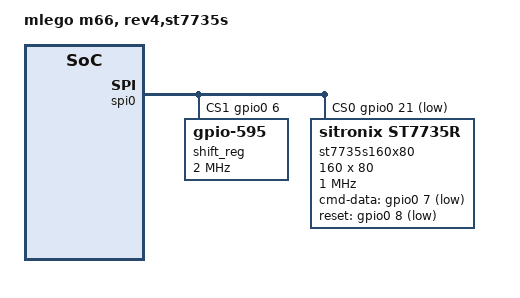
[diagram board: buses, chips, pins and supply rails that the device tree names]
/*
 * Copyright (c) 2022-2024 alin m elena
 * SPDX-License-Identifier: MIT
 */
 / {
  model = "mlego m66, rev4,st7735s";
	chosen {
		zephyr,display = &st7735s160x80;
	};

};

board_spi: &spi0 {
  status = "okay";
  pinctrl-0 = < &spi0_default >;
  pinctrl-names = "default";
  cs-gpios = <&gpio0 21 GPIO_ACTIVE_LOW> ,
             <&gpio0 6 GPIO_ACTIVE_HIGH>;

  shift_reg: 595@0 {
    compatible = "zmk,gpio-595";
    status = "okay";
    gpio-controller;
    spi-max-frequency = <2000000>;
    #gpio-cells = <2>;
    reg = <1>;
    ngpios = <16>;
  };
	st7735s160x80: st7735r@0 {
		compatible = "sitronix,st7735r";
		spi-max-frequency = <1000000>;
		reg = <0>;
		cmd-data-gpios = <&gpio0 7 GPIO_ACTIVE_LOW>;	
		reset-gpios = <&gpio0 8  GPIO_ACTIVE_LOW>;
		width = <160>;
		height = <80>;
		x-offset = <0>;
		y-offset = <0>;
		madctl = <0xC0>;
		colmod = <0x05>;
		caset = [00 00 00 4F];
		raset = [00 00 00 9F];
		vmctr1 = <0x0e>;
		invctr = <0x07>;
		pwctr1 = [a2 02 84];
		pwctr2 = [c5];
		pwctr3 = [0a 00];
		pwctr4 = [8a 2a];
		pwctr5 = [8a ee];
		frmctr1 = [01 2c 2d];
		frmctr2 = [01 2c 2d];
		frmctr3 = [01 2c 2d 01 2c 2d];
		gamctrp1 = [02 1c 07 12 37 32 29 2d 29 25 2b 39 00 01 03 10];
		gamctrn1 = [03 1d 07 06 2e 2c 29 2d 2e 2e 37 3f 00 00 02 10];
	};
};
